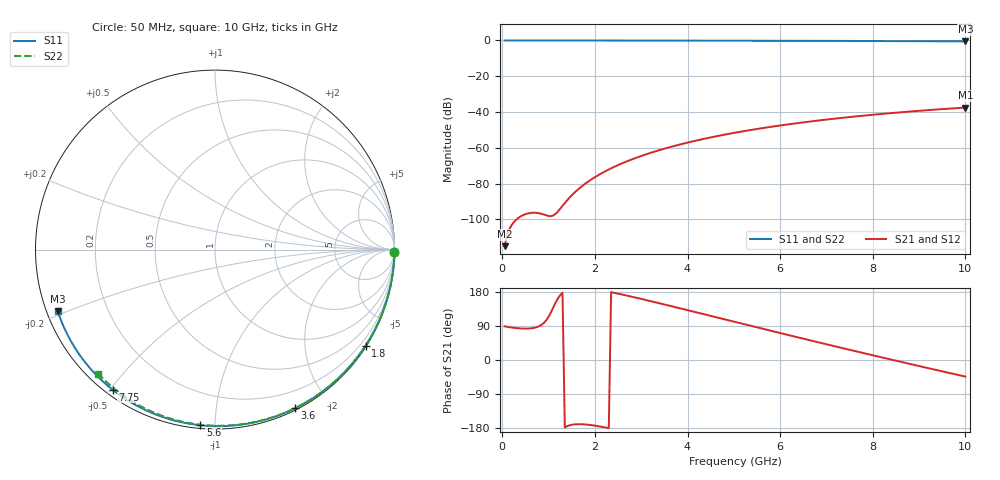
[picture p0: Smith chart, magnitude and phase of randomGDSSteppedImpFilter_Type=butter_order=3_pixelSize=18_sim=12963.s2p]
! freq	dB(S11)	phase(S11)	dB(S12)	phase(S12)
!  dB(S21)	phase(S21)	dB(S22)	phase(S22)
!S-par simulation data
#  GHz  S  DB  R 50
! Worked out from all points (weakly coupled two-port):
!   200 points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, 50 MHz to 10 GHz, reference 50 ohm
!   highest |S21| = -37.50 dB at 10 GHz (marker M1); lowest = -115.0 dB at 50 MHz (marker M2)
!   lowest |S11| = -0.5 dB at 10 GHz (marker M3), VSWR 33.01, Z = 1.57 - j9.48 ohm
!   |S11| at or under -10 dB: nowhere
!   |S22| runs from -0.4 to 0.0 dB; largest |S21 - S12| = 0
!   S11 on the Smith chart (normalised r, x): 50 MHz: open; 1.8 GHz: 0.03, -3.43; 3.6 GHz: 0.02, -1.62; 5.6 GHz: 0.02, -0.92; 7.75 GHz: 0.02, -0.51; 10 GHz: 0.03, -0.19
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0.05  -0.00 -0.9  -115.00 88.8  -115.00 88.8  -0.00 -0.8
0.45  -0.01 -8.3  -97.61 82.9  -97.61 82.9  -0.01 -6.9
0.9  -0.02 -16.4  -97.35 98.1  -97.35 98.1  -0.02 -13.8
1.3  -0.03 -23.6  -92.47 177.4  -92.47 177.4  -0.02 -19.8
1.75  -0.04 -31.6  -80.86 -169.7  -80.86 -169.7  -0.03 -26.6
1.8  -0.04 -32.5  -79.89 -170.2  -79.89 -170.2  -0.03 -27.3
1.95  -0.04 -35.1  -77.23 -172.3  -77.23 -172.3  -0.04 -29.5
2.1  -0.05 -37.7  -74.88 -175.2  -74.88 -175.2  -0.04 -31.7
2.3  -0.05 -41.2  -72.12 -179.8  -72.12 -179.8  -0.04 -34.7
2.5  -0.06 -44.7  -69.68 175.1  -69.68 175.1  -0.05 -37.6
2.9  -0.07 -51.5  -65.51 164.1  -65.51 164.1  -0.06 -43.4
3.4  -0.08 -59.9  -61.25 149.5  -61.25 149.5  -0.07 -50.5
3.6  -0.08 -63.2  -59.77 143.6  -59.77 143.6  -0.07 -53.4
4.3  -0.11 -74.6  -55.30 122.4  -55.30 122.4  -0.09 -63.0
5.05  -0.13 -86.4  -51.45 99.7  -51.45 99.7  -0.11 -73.1
5.6  -0.16 -94.8  -49.07 83.1  -49.07 83.1  -0.13 -80.3
6.15  -0.18 -103.0  -46.99 66.6  -46.99 66.6  -0.15 -87.4
6.7  -0.22 -111.1  -45.14 50.3  -45.14 50.3  -0.18 -94.2
7.75  -0.29 -126.2  -42.16 19.6  -42.16 19.6  -0.25 -107.0
8.35  -0.34 -134.7  -40.71 2.4  -40.71 2.4  -0.29 -114.1
9.2  -0.43 -146.9  -38.93 -21.6  -38.93 -21.6  -0.36 -124.0
10  -0.53 -158.5  -37.50 -43.8  -37.50 -43.8  -0.45 -133.2
